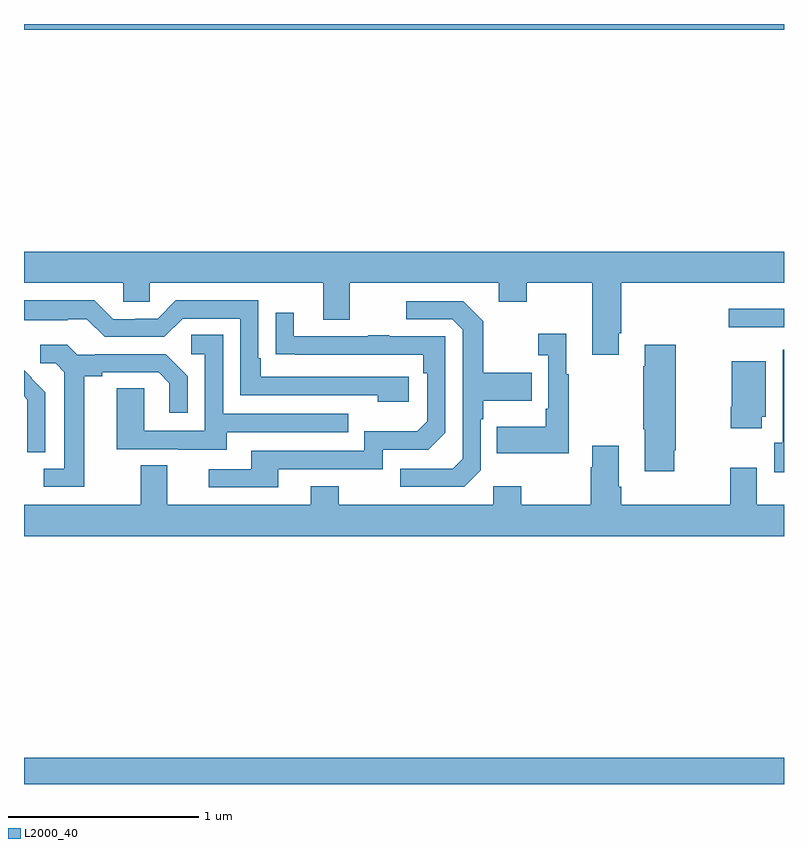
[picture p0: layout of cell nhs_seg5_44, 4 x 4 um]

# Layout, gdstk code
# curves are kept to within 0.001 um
import gdstk
lib = gdstk.Library(unit=1e-6, precision=1e-09)
def R(c, l, rs):  # rectangles x0, y0, x1, y1
    for r in rs: c.add(gdstk.rectangle(r[:2], r[2:], *l))
def P(c, l, *ps):  # polygons
    for p in ps: c.add(gdstk.Polygon(p, *l))
L2000_40 = (2000, 40)

nhs_seg5_44 = lib.new_cell('nhs_seg5_44')
R(nhs_seg5_44, L2000_40, [(113,844.799,117,844.936), (116.709,847.203,117,847.3), (113,848.768,117,848.799)])
P(nhs_seg5_44, L2000_40, [(116.131,847.171),(116.144,847.171),(116.144,847.436),(117,847.436),(117,847.6),(113,847.6),(113,847.436),(113.523,847.436),(113.523,847.338),(113.661,847.338),(113.661,847.436),(114.575,847.436),(114.575,847.242),(114.715,847.242),(114.715,847.436),(115.499,847.436),(115.499,847.337),(115.647,847.337),(115.647,847.436),(115.991,847.436),(115.991,847.059),(116.131,847.059)],
  [(115.024,846.942),(114.247,846.942),(114.247,847.039),(114.234,847.039),(114.234,847.344),(113.799,847.344),(113.703,847.248),(113.585,847.248),(113.585,847.245),(113.469,847.245),(113.369,847.345),(113,847.345),(113,847.241),(113.231,847.241),(113.231,847.245),(113.331,847.245),(113.424,847.152),(113.739,847.152),(113.835,847.248),(114.138,847.248),(114.138,846.846),(114.863,846.846),(114.863,846.812),(115.024,846.812)],
  [(115.404,846.45),(115.404,846.719),(115.417,846.719),(115.417,846.815),(115.673,846.815),(115.673,846.963),(115.417,846.963),(115.417,847.235),(115.311,847.341),(115.011,847.341),(115.011,847.245),(115.254,847.245),(115.308,847.191),(115.308,846.51),(115.257,846.459),(114.981,846.459),(114.981,846.363),(115.317,846.363)],
  [(114.337,846.456),(114.888,846.456),(114.888,846.558),(115.128,846.558),(115.218,846.648),(115.218,847.155),(114.923,847.155),(114.923,847.16),(114.811,847.16),(114.811,847.155),(114.421,847.155),(114.421,847.279),(114.325,847.279),(114.325,847.06),(115.102,847.059),(115.102,846.962),(115.122,846.962),(115.122,846.708),(115.069,846.655),(114.792,846.655),(114.792,846.552),(114.197,846.552),(114.197,846.456),(113.973,846.456),(113.973,846.36),(114.337,846.36)],
  [(115.867,846.955),(115.855,846.955),(115.855,847.168),(115.707,847.168),(115.707,847.055),(115.758,847.055),(115.758,846.775),(115.746,846.775),(115.746,846.679),(115.489,846.679),(115.489,846.539),(115.867,846.539)],
  [(114.067,846.651),(114.707,846.651),(114.707,846.747),(114.048,846.747),(114.048,847.163),(113.88,847.163),(113.88,847.062),(113.952,847.062),(113.952,846.657),(113.634,846.657),(113.634,846.881),(113.489,846.881),(113.489,846.561),(113.813,846.561),(113.813,846.557),(114.067,846.557)],
  [(113.317,846.944),(113.413,846.944),(113.413,846.966),(113.708,846.966),(113.765,846.909),(113.765,846.753),(113.862,846.753),(113.862,846.946),(113.746,847.062),(113.374,847.062),(113.374,847.059),(113.28,847.059),(113.228,847.111),(113.085,847.111),(113.085,847.014),(113.166,847.014),(113.213,846.967),(113.213,846.459),(113.103,846.459),(113.103,846.363),(113.317,846.363)],
  [(116.422,846.556),(116.43,846.556),(116.43,847.111),(116.267,847.111),(116.267,846.998),(116.26,846.998),(116.26,846.667),(116.267,846.667),(116.267,846.444),(116.422,846.444)],
  [(117,847.084),(116.993,847.084),(116.993,846.594),(116.948,846.594),(116.948,846.44),(117,846.44)],
  [(116.884,846.732),(116.905,846.732),(116.905,847.024),(116.726,847.024),(116.726,846.784),(116.719,846.784),(116.719,846.672),(116.884,846.672)],
  [(113.112,846.862),(113.039,846.935),(113.04,846.936),(113,846.976),(113,846.839),(113.018,846.821),(113.018,846.698),(113.016,846.698),(113.016,846.544),(113.112,846.544)],
  [(117,846.268),(116.857,846.268),(116.857,846.463),(116.717,846.463),(116.717,846.268),(116.144,846.268),(116.144,846.364),(116.131,846.364),(116.131,846.58),(115.991,846.58),(115.991,846.467),(115.984,846.467),(115.984,846.268),(115.617,846.268),(115.617,846.367),(115.47,846.367),(115.47,846.268),(114.657,846.268),(114.657,846.367),(114.509,846.367),(114.509,846.268),(113.755,846.268),(113.755,846.476),(113.615,846.476),(113.615,846.268),(113,846.268),(113,846.104),(117,846.104)])

lib.write_gds('nhs_seg5_44.gds')
